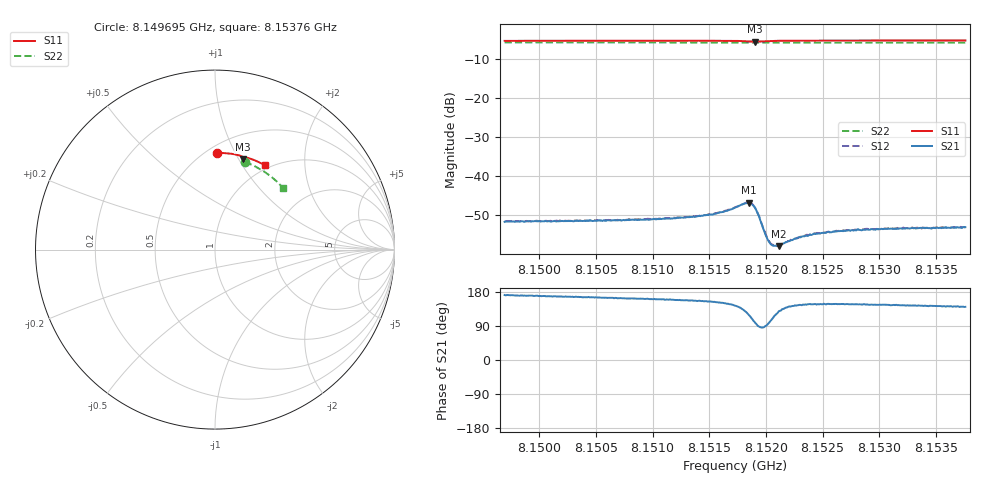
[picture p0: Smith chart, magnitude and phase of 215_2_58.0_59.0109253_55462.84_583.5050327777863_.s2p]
#  HZ  S  RI  R  50.00
! Rohde & Schwarz Vector Network Analyzer
! Rohde-Schwarz,ZNB20-2Port,1311601062101988,3.16
! Created: UTC 3/21/2024, 12:59:55 AM
! freq[Hz]  re:S11  im:S11  re:S21  im:S21  re:S12  im:S12  re:S22  im:S22
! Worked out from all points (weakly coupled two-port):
!   401 points, 8.149695 GHz to 8.15376 GHz, reference 50 ohm
!   highest |S21| = -46.77 dB at 8.15185 GHz (marker M1); lowest = -57.9 dB at 8.152114 GHz (marker M2)
!   lowest |S11| = -5.6 dB at 8.1519 GHz (marker M3), VSWR 3.23, Z = 37.3 + j52.1 ohm
!   |S11| at or under -10 dB: nowhere
!   |S22| runs from -5.8 to -5.7 dB; largest |S21 - S12| = 0.00014
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8.1496955e9  0.00919 0.5395  -0.00258 0.00039  -0.00263 0.000441  0.1669 0.4881
8.1503763e9  0.0569 0.5377  -0.0026 0.00066  -0.00261 0.000718  0.2077 0.4715
8.1510571e9  0.1045 0.5315  -0.00266 0.000951  -0.00269 0.00101  0.2469 0.4512
8.1513213e9  0.1232 0.5277  -0.00276 0.00117  -0.00277 0.0012  0.2615 0.4426
8.1515143e9  0.1374 0.5241  -0.00292 0.0014  -0.00291 0.00151  0.2718 0.436
8.1516058e9  0.1443 0.5218  -0.00303 0.00168  -0.00301 0.00172  0.2769 0.4326
8.1517277e9  0.1539 0.5167  -0.00317 0.00237  -0.00318 0.00245  0.2834 0.4282
8.151809e9  0.1592 0.5104  -0.00292 0.00339  -0.00286 0.00342  0.2875 0.4248
8.1518496e9  0.1591 0.5061  -0.00224 0.004  -0.00219 0.00404  0.2896 0.4232
8.1518801e9  0.1571 0.504  -0.00135 0.00413  -0.00129 0.00422  0.291 0.4221
8.1519004e9  0.1552 0.5038  -0.000701 0.00396  -0.000643 0.004  0.292 0.4215
8.1519309e9  0.1534 0.5059  1.89e-05 0.00326  3.33e-05 0.0033  0.2934 0.4205
8.1519919e9  0.1558 0.5114  4.44e-05 0.00188  9.07e-05 0.00193  0.2966 0.4184
8.1520224e9  0.1584 0.5129  -0.000165 0.00148  -0.000117 0.00152  0.2983 0.4173
8.1520427e9  0.1604 0.5134  -0.000319 0.00131  -0.000311 0.00134  0.2993 0.4166
8.152063e9  0.1624 0.5138  -0.000467 0.00121  -0.000478 0.00124  0.3002 0.4159
8.1521138e9  0.1671 0.5138  -0.000794 0.000998  -0.000793 0.00103  0.303 0.4139
8.1522764e9  0.1803 0.5117  -0.0013 0.000939  -0.00131 0.000978  0.3113 0.4075
8.1524085e9  0.1899 0.509  -0.0015 0.000973  -0.00152 0.000997  0.3181 0.402
8.1527133e9  0.2108 0.5015  -0.00171 0.00108  -0.00171 0.00113  0.3327 0.3894
8.1530893e9  0.2353 0.4912  -0.00174 0.00121  -0.00175 0.00125  0.3502 0.373
8.1537599e9  0.2771 0.4703  -0.00172 0.00143  -0.00169 0.00143  0.3794 0.3419
